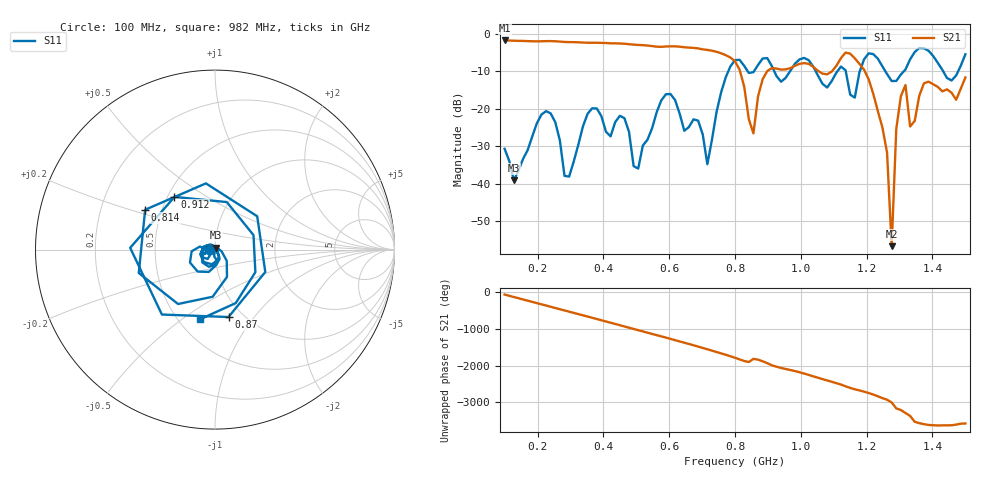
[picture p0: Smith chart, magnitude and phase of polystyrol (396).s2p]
! NanoVNA-App
! Date: 2025-09-25 15:32:58
! Start: 100MHz Stop: 1,5GHz Points: 101
! S-Parameter data: F S11 S21 S12 S22
# Hz S RI R 50
!  Frequency  S11_Real  S11_Imag  S21_Real  S21_Imag  S12_Real  S12_Imag  S22_Real  S22_Imag
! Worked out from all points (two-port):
!   101 points, 100 MHz to 1.5 GHz, reference 50 ohm
!   highest |S21| = -1.80 dB at 100 MHz (marker M1); lowest = -56.7 dB at 1.276 GHz (marker M2)
!   |S21| within 3 dB of the highest: start of sweep to 743 MHz
!   lowest |S11| = -39.1 dB at 128 MHz (marker M3), VSWR 1.02, Z = 50.3 + j1.06 ohm
!   |S11| at or under -10 dB: start of sweep to 779.8 MHz; 1.045 GHz to 1.111 GHz (66.24 MHz wide, 6.14 % of centre); 1.257 GHz to 1.313 GHz (56.46 MHz wide, 4.39 % of centre) (the widest 3 of 7)
!   S12 and S22 are empty: the file has one direction only
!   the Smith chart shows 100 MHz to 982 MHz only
!   S11 on the Smith chart (normalised r, x): 100 MHz: 0.94, -0.01; 814 MHz: 0.40, +0.22; 870 MHz: 0.86, -0.75; 912 MHz: 0.54, +0.37; 982 MHz: 0.63, -0.59
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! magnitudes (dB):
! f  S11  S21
! 100 MHz  -30.7  -1.8
! 128 MHz  -39.1  -1.9
! 212 MHz  -21.6  -2.0
! 282 MHz  -37.9  -2.2
! 338 MHz  -24.7  -2.4
! 506 MHz  -36.0  -3.0
! 576 MHz  -17.8  -3.5
! 716 MHz  -34.8  -4.3
! 800 MHz  -7.0  -7.4
! 814 MHz  -7.0  -9.6
! 856 MHz  -10.3  -26.6
! 870 MHz  -8.3  -16.7
! 912 MHz  -8.6  -9.2
! 982 MHz  -8.0  -8.6
! 1.038 GHz  -8.8  -8.8
! 1.206 GHz  -5.2  -12.1
! 1.262 GHz  -10.8  -31.7
! 1.276 GHz  -12.6  -56.7
! 1.29 GHz  -12.6  -25.4
! 1.318 GHz  -9.5  -13.7
! 1.332 GHz  -6.8  -24.7
! 1.5 GHz  -5.5  -11.7
